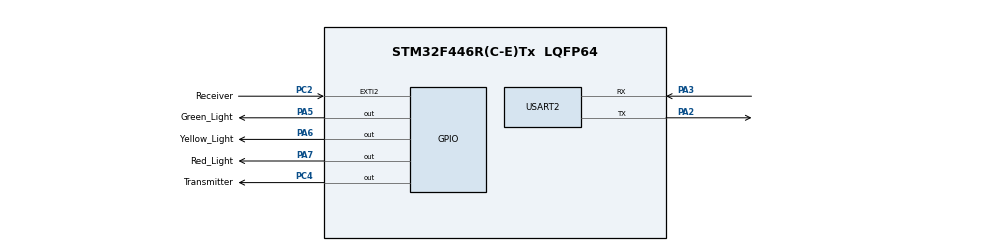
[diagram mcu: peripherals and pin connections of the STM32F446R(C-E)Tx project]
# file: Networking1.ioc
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Mcu.Family=STM32F4
Mcu.Name=STM32F446R(C-E)Tx
Mcu.Package=LQFP64
NVIC.EXTI2_IRQn=true\:0\:0\:true\:false\:true\:true\:true
NVIC.PriorityGroup=NVIC_PRIORITYGROUP_4
NVIC.TIM2_IRQn=true\:0\:0\:false\:false\:true\:true\:true
NVIC.TIM3_IRQn=true\:0\:0\:false\:false\:true\:true\:true
NVIC.TIM4_IRQn=true\:0\:0\:false\:false\:true\:true\:true
PA2.Mode=Asynchronous
PA2.Signal=USART2_TX
PA3.Mode=Asynchronous
PA3.Signal=USART2_RX
PA5.GPIO_Label=Green_Light
PA5.GPIO_Speed=GPIO_SPEED_FREQ_VERY_HIGH
PA5.Signal=GPIO_Output
PA6.GPIO_Label=Yellow_Light
PA6.GPIO_Speed=GPIO_SPEED_FREQ_VERY_HIGH
PA6.Signal=GPIO_Output
PA7.GPIO_Label=Red_Light
PA7.GPIO_Speed=GPIO_SPEED_FREQ_VERY_HIGH
PA7.Signal=GPIO_Output
PC14-OSC32_IN.Mode=LSE-External-Oscillator
PC14-OSC32_IN.Signal=RCC_OSC32_IN
PC15-OSC32_OUT.Mode=LSE-External-Oscillator
PC15-OSC32_OUT.Signal=RCC_OSC32_OUT
PC2.GPIO_Label=Receiver
PC2.GPIO_ModeDefaultEXTI=GPIO_MODE_IT_RISING_FALLING
PC2.GPIO_PuPd=GPIO_PULLDOWN
PC2.Signal=GPXTI2
PC4.GPIO_Label=Transmitter
PC4.GPIO_Speed=GPIO_SPEED_FREQ_VERY_HIGH
PC4.Signal=GPIO_Output
ProjectManager.HeapSize=0x200
ProjectManager.StackSize=0x400
ProjectManager.TargetToolchain=STM32CubeIDE
RCC.CortexFreq_Value=16000000
RCC.USBFreq_Value=96000000
RCC.VCOOutputFreq_Value=192000000
TIM2.AutoReloadPreload=TIM_AUTORELOAD_PRELOAD_ENABLE
TIM2.Period=506-1
TIM2.Prescaler=16-1
TIM3.AutoReloadPreload=TIM_AUTORELOAD_PRELOAD_ENABLE
TIM3.Period=11-1
TIM3.Prescaler=1600-1
TIM4.AutoReloadPreload=TIM_AUTORELOAD_PRELOAD_ENABLE
TIM4.Period=5-1
TIM4.Prescaler=1600-1
USART2.VirtualMode=VM_ASYNC
VP_TIM2_VS_ClockSourceINT.Mode=Internal
VP_TIM3_VS_ClockSourceINT.Mode=Internal
VP_TIM4_VS_ClockSourceINT.Mode=Internal
board=custom

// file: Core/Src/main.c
/* USER CODE BEGIN Header */
/**
  ******************************************************************************
  * @file           : main.c
  * @brief          : Main program body
  ******************************************************************************
  * @attention
  *
  * <h2><center>&copy; Copyright (c) 2019 STMicroelectronics.
  * All rights reserved.</center></h2>
  *
  * This software component is licensed by ST under BSD 3-Clause license,
  * the "License"; You may not use this file except in compliance with the
  * License. You may obtain a copy of the License at:
  *                        opensource.org/licenses/BSD-3-Clause
  *
  ******************************************************************************
  */
/* USER CODE END Header */

#include "main.h"

/* USER CODE BEGIN Includes */
#include <stdint.h>
#include <inttypes.h>
#include <stdio.h>
#include <string.h>
#include <stdlib.h>
#include "channel_monitor.h"
#include "transmit.h"
#include "receive.h"
/* USER CODE END Includes */

TIM_HandleTypeDef htim2;
TIM_HandleTypeDef htim3;
TIM_HandleTypeDef htim4;

UART_HandleTypeDef huart2;

/* USER CODE BEGIN PV */

char buff[259];
static char store[1];
static int flag;
static bool run;
static int tx_flag;
static int rx_flag;
static data_struct rx_struct;
static data_struct tx_struct;

/* USER CODE END PV */

void SystemClock_Config(void);
static void MX_GPIO_Init(void);
static void MX_TIM2_Init(void);
static void MX_TIM3_Init(void);
static void MX_TIM4_Init(void);
static void MX_USART2_UART_Init(void);
/* USER CODE BEGIN PFP */
void UART_Receive(UART_HandleTypeDef *huart);
void GPIO_Set_Lights();
/* USER CODE END PFP */

int main(void)
{
  /* USER CODE BEGIN 1 */
	flag = 0;
	tx_flag = 0;
	rx_flag = 0;
	run = true;
  /* USER CODE END 1 */

  /* MCU Configuration--------------------------------------------------------*/

  /* Reset of all peripherals, Initializes the Flash interface and the Systick. */
  HAL_Init();

  /* Configure the system clock */
  SystemClock_Config();

  /* Initialize all configured peripherals */
  MX_GPIO_Init();
  MX_TIM2_Init();
  MX_TIM3_Init();
  MX_TIM4_Init();
  MX_USART2_UART_Init();
  /* USER CODE BEGIN 2 */
   cm_init(GPIOC,Receiver_Pin); //set the channel monitor to watch the receive pin
   tm_init(GPIOC, Transmitter_Pin, &htim4, &tx_struct);
   rc_init((uint8_t*)&store, &htim2, &huart2, &rx_struct);
  /* USER CODE END 2 */

  /* Infinite loop */
  /* USER CODE BEGIN WHILE */

   //HAL_GPIO_WritePin(GPIOA,Test_Collision_Pin,testset); //set idle

   uint8_t intro[61] = "Enter the destination then the message with a space between\r\n";

   HAL_UART_Transmit(&huart2,(uint8_t *)intro,61,0xFFFF);

   /* Enable the UART Data Register not empty Interrupt */
   __HAL_UART_ENABLE_IT(&huart2, UART_IT_RXNE);

   char buff2[ 6 ] = "\r\n>>>";

   HAL_UART_Transmit ( &huart2, (uint8_t*)buff2, strlen( buff2 ), 10 );
   memset( buff, 0, 258 );

   HAL_TIM_Base_Start_IT(&htim3);

  while (1){

	  if(tx_flag == 1){
		  tx_flag = 0;
		  tm_calc_next();
	  }

	  if(flag == 1){
		  cm_sc_inter(&htim3, (GPIOC->IDR&(1<<2))>>2);
		  flag = 0;
		  if(!run){
			  int check = rc_receive();
			  if(check == 1){
				  HAL_UART_Transmit ( &huart2, (uint8_t*)buff2, strlen( buff2 ), 10 ); //send the end of character
			  }
			  rx_flag = 0; //for the reset if idle
		  }
		  GPIO_Set_Lights();
	  } else if(flag == 2){
		  cm_tim_inter((GPIOC->IDR&(1<<2))>>2);
		  flag = 0;
		  GPIO_Set_Lights();
		  run = true; //reset the GPIO setup to go back to watching
	  } else if((huart2.Instance->SR & UART_IT_RXNE) != RESET) {
		  UART_Receive(&huart2);
	  }
    /* USER CODE END WHILE */

  }
}

void SystemClock_Config(void)
{
  RCC_OscInitTypeDef RCC_OscInitStruct = {0};
  RCC_ClkInitTypeDef RCC_ClkInitStruct = {0};

  /** Configure the main internal regulator output voltage
  */
  __HAL_RCC_PWR_CLK_ENABLE();
  __HAL_PWR_VOLTAGESCALING_CONFIG(PWR_REGULATOR_VOLTAGE_SCALE3);
  /** Initializes the CPU, AHB and APB busses clocks
  */
  RCC_OscInitStruct.OscillatorType = RCC_OSCILLATORTYPE_HSI;
  RCC_OscInitStruct.HSIState = RCC_HSI_ON;
  RCC_OscInitStruct.HSICalibrationValue = RCC_HSICALIBRATION_DEFAULT;
  RCC_OscInitStruct.PLL.PLLState = RCC_PLL_NONE;
  if (HAL_RCC_OscConfig(&RCC_OscInitStruct) != HAL_OK)
  {
    Error_Handler();
  }
  /** Initializes the CPU, AHB and APB busses clocks
  */
  RCC_ClkInitStruct.ClockType = RCC_CLOCKTYPE_HCLK|RCC_CLOCKTYPE_SYSCLK
                              |RCC_CLOCKTYPE_PCLK1|RCC_CLOCKTYPE_PCLK2;
  RCC_ClkInitStruct.SYSCLKSource = RCC_SYSCLKSOURCE_HSI;
  RCC_ClkInitStruct.AHBCLKDivider = RCC_SYSCLK_DIV1;
  RCC_ClkInitStruct.APB1CLKDivider = RCC_HCLK_DIV1;
  RCC_ClkInitStruct.APB2CLKDivider = RCC_HCLK_DIV1;

  if (HAL_RCC_ClockConfig(&RCC_ClkInitStruct, FLASH_LATENCY_0) != HAL_OK)
  {
    Error_Handler();
  }
}

static void MX_TIM2_Init(void)
{

  TIM_ClockConfigTypeDef sClockSourceConfig = {0};
  TIM_MasterConfigTypeDef sMasterConfig = {0};

  htim2.Instance = TIM2;
  htim2.Init.Prescaler = 16-1;
  htim2.Init.CounterMode = TIM_COUNTERMODE_UP;
  htim2.Init.Period = 506-1;
  htim2.Init.ClockDivision = TIM_CLOCKDIVISION_DIV1;
  htim2.Init.AutoReloadPreload = TIM_AUTORELOAD_PRELOAD_ENABLE;
  if (HAL_TIM_Base_Init(&htim2) != HAL_OK)
  {
    Error_Handler();
  }
  sClockSourceConfig.ClockSource = TIM_CLOCKSOURCE_INTERNAL;
  if (HAL_TIM_ConfigClockSource(&htim2, &sClockSourceConfig) != HAL_OK)
  {
    Error_Handler();
  }
  sMasterConfig.MasterOutputTrigger = TIM_TRGO_RESET;
  sMasterConfig.MasterSlaveMode = TIM_MASTERSLAVEMODE_DISABLE;
  if (HAL_TIMEx_MasterConfigSynchronization(&htim2, &sMasterConfig) != HAL_OK)
  {
    Error_Handler();
  }

}

static void MX_TIM3_Init(void)
{

  TIM_ClockConfigTypeDef sClockSourceConfig = {0};
  TIM_MasterConfigTypeDef sMasterConfig = {0};

  htim3.Instance = TIM3;
  htim3.Init.Prescaler = 1600-1;
  htim3.Init.CounterMode = TIM_COUNTERMODE_UP;
  htim3.Init.Period = 11-1;
  htim3.Init.ClockDivision = TIM_CLOCKDIVISION_DIV1;
  htim3.Init.AutoReloadPreload = TIM_AUTORELOAD_PRELOAD_ENABLE;
  if (HAL_TIM_Base_Init(&htim3) != HAL_OK)
  {
    Error_Handler();
  }
  sClockSourceConfig.ClockSource = TIM_CLOCKSOURCE_INTERNAL;
  if (HAL_TIM_ConfigClockSource(&htim3, &sClockSourceConfig) != HAL_OK)
  {
    Error_Handler();
  }
  sMasterConfig.MasterOutputTrigger = TIM_TRGO_RESET;
  sMasterConfig.MasterSlaveMode = TIM_MASTERSLAVEMODE_DISABLE;
  if (HAL_TIMEx_MasterConfigSynchronization(&htim3, &sMasterConfig) != HAL_OK)
  {
    Error_Handler();
  }

}

static void MX_TIM4_Init(void)
{

  TIM_ClockConfigTypeDef sClockSourceConfig = {0};
  TIM_MasterConfigTypeDef sMasterConfig = {0};

  htim4.Instance = TIM4;
  htim4.Init.Prescaler = 1600-1;
  htim4.Init.CounterMode = TIM_COUNTERMODE_UP;
  htim4.Init.Period = 5-1;
  htim4.Init.ClockDivision = TIM_CLOCKDIVISION_DIV1;
  htim4.Init.AutoReloadPreload = TIM_AUTORELOAD_PRELOAD_ENABLE;
  if (HAL_TIM_Base_Init(&htim4) != HAL_OK)
  {
    Error_Handler();
  }
  sClockSourceConfig.ClockSource = TIM_CLOCKSOURCE_INTERNAL;
  if (HAL_TIM_ConfigClockSource(&htim4, &sClockSourceConfig) != HAL_OK)
  {
    Error_Handler();
  }
  sMasterConfig.MasterOutputTrigger = TIM_TRGO_RESET;
  sMasterConfig.MasterSlaveMode = TIM_MASTERSLAVEMODE_DISABLE;
  if (HAL_TIMEx_MasterConfigSynchronization(&htim4, &sMasterConfig) != HAL_OK)
  {
    Error_Handler();
  }

}

static void MX_USART2_UART_Init(void)
{

  huart2.Instance = USART2;
  huart2.Init.BaudRate = 115200;
  huart2.Init.WordLength = UART_WORDLENGTH_8B;
  huart2.Init.StopBits = UART_STOPBITS_1;
  huart2.Init.Parity = UART_PARITY_NONE;
  huart2.Init.Mode = UART_MODE_TX_RX;
  huart2.Init.HwFlowCtl = UART_HWCONTROL_NONE;
  huart2.Init.OverSampling = UART_OVERSAMPLING_16;
  if (HAL_UART_Init(&huart2) != HAL_OK)
  {
    Error_Handler();
  }

}

static void MX_GPIO_Init(void)
{
  GPIO_InitTypeDef GPIO_InitStruct = {0};

  /* GPIO Ports Clock Enable */
  __HAL_RCC_GPIOC_CLK_ENABLE();
  __HAL_RCC_GPIOA_CLK_ENABLE();

  /*Configure GPIO pin Output Level */
  HAL_GPIO_WritePin(GPIOA, Green_Light_Pin|Yellow_Light_Pin|Red_Light_Pin, GPIO_PIN_RESET);

  /*Configure GPIO pin Output Level */
  HAL_GPIO_WritePin(Transmitter_GPIO_Port, Transmitter_Pin, GPIO_PIN_RESET);

  /*Configure GPIO pin : Receiver_Pin */
  GPIO_InitStruct.Pin = Receiver_Pin;
  GPIO_InitStruct.Mode = GPIO_MODE_IT_RISING_FALLING;
  GPIO_InitStruct.Pull = GPIO_PULLDOWN;
  HAL_GPIO_Init(Receiver_GPIO_Port, &GPIO_InitStruct);

  /*Configure GPIO pins : Green_Light_Pin Yellow_Light_Pin Red_Light_Pin */
  GPIO_InitStruct.Pin = Green_Light_Pin|Yellow_Light_Pin|Red_Light_Pin;
  GPIO_InitStruct.Mode = GPIO_MODE_OUTPUT_PP;
  GPIO_InitStruct.Pull = GPIO_NOPULL;
  GPIO_InitStruct.Speed = GPIO_SPEED_FREQ_VERY_HIGH;
  HAL_GPIO_Init(GPIOA, &GPIO_InitStruct);

  /*Configure GPIO pin : Transmitter_Pin */
  GPIO_InitStruct.Pin = Transmitter_Pin;
  GPIO_InitStruct.Mode = GPIO_MODE_OUTPUT_PP;
  GPIO_InitStruct.Pull = GPIO_NOPULL;
  GPIO_InitStruct.Speed = GPIO_SPEED_FREQ_VERY_HIGH;
  HAL_GPIO_Init(Transmitter_GPIO_Port, &GPIO_InitStruct);

  /* EXTI interrupt init*/
  HAL_NVIC_SetPriority(EXTI2_IRQn, 0, 0);
  HAL_NVIC_EnableIRQ(EXTI2_IRQn);

}

/* USER CODE BEGIN 4 */
/**
  * @brief EXTI line detection callbacks
  * @param GPIO_Pin: Specifies the pins connected EXTI line
  * @retval None
  */
void HAL_GPIO_EXTI_Callback(uint16_t GPIO_Pin)
{

  if(GPIO_Pin == Receiver_Pin)
  {
	  //if(flag == 0){
		  flag = 1;
		  rx_flag = 2;

		  //only trigger timer start this if not receiving already
		  if(run){
			  HAL_TIM_Base_Start_IT(&htim2);
			  run = false;
		  } else {
		  //reset the timer
			  __disable_irq();
			  HAL_TIM_Base_Stop_IT(&htim2);
			  __HAL_TIM_SET_COUNTER(&htim2, 0);
			  HAL_TIM_Base_Start_IT(&htim2);
			  __enable_irq();
		  }
	  //}

  }
}

/**
  * @brief  Period elapsed callback in non blocking mode
  * @param  htim: TIM handle
  * @retval None
  */
void HAL_TIM_PeriodElapsedCallback(TIM_HandleTypeDef *htim)
{
    if (htim->Instance == htim3.Instance){
    	if(flag == 0){
    		flag = 2;
    	}
    } else if(htim->Instance == htim4.Instance){
    	tm_change_pin();
    	tx_flag = 1;
    } else if(htim->Instance == htim2.Instance){
    	if(rx_flag != 2){
    		int ret = rc_timeout((uint8_t*)&store, &rx_struct);
    		if(ret == 1){
    			run = true;
    		}
    	}
    }

}

void UART_Receive(UART_HandleTypeDef *huart){
	char buff2[ 6 ] = "\r\n>>>";

	HAL_UART_Receive( huart, (uint8_t*)buff, 258, 100 );
	char point[strlen(buff)];
	for(int i = 0; i < strlen(buff); i++){
		point[i] = *(buff+i);
	}

	char delim[] = " ";
	uint8_t* dest = (uint8_t*)strtok((char*)point, delim); //get the destination to the break
	char delim2[] = "\r";
	uint8_t* data = (uint8_t*)strtok(NULL, delim2); //get the data to the end

	if(strlen((char*)dest) == 2 && strlen((char*)data) > 0){
		char sent[2] = "OK";
		HAL_UART_Transmit ( huart, (uint8_t*)sent, strlen( sent ), 1000 );
		tm_send(data, (uint8_t)strtol((char*)dest, NULL, 16));
	} else {
		HAL_UART_Transmit ( huart, (uint8_t*)point, strlen( buff ), 1000 );
		char sent[31] = "Format: 00 this is your message";
		HAL_UART_Transmit ( huart, (uint8_t*)sent, strlen( sent ), 1000 );
	}

	HAL_UART_Transmit ( huart, (uint8_t*)buff2, strlen( buff2 ), 10 );

	memset( buff, 0, 258 ); //clear the data out.
}

void GPIO_Set_Lights(){
	uint16_t pattern = cm_get_state(); //read the state
	GPIOA->ODR = pattern << 5;

	if(pattern == 0x1 && rx_flag != 1){
		HAL_TIM_Base_Stop_IT(&htim2);
		__HAL_TIM_SET_COUNTER(&htim2, 0);
		rc_reset();
		rx_flag = 1; //only run this once
	}
}

/* USER CODE END 4 */

void Error_Handler(void)
{
}

/************************ (C) COPYRIGHT STMicroelectronics *****END OF FILE****/
